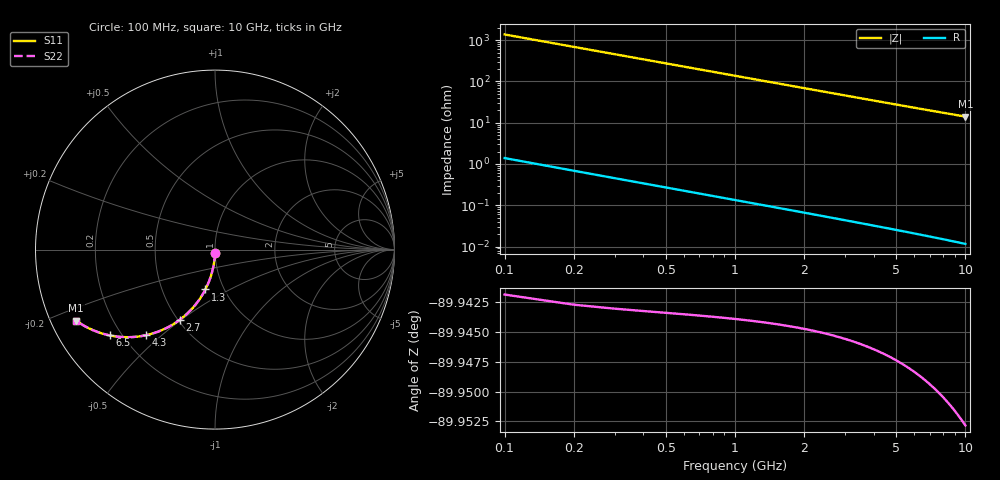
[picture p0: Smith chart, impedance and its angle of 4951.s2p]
# Hz S RI R 50.00
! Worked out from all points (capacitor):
!   100 points, 100 MHz to 10 GHz, reference 50 ohm
!   read as one part in shunt: C = 1.16 pF near 100 MHz
!   lowest |Z| = 14.1 ohm at 10 GHz (marker M1)
!   S11 on the Smith chart (normalised r, x): 100 MHz: 1.00, -0.04; 1.3 GHz: 0.82, -0.38; 2.7 GHz: 0.51, -0.49; 4.3 GHz: 0.29, -0.45; 6.5 GHz: 0.16, -0.35; 10 GHz: 0.07, -0.24
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1e8  -0.000256 -0.018  0.9996 -0.0185  0.9996 -0.0185  -0.000256 -0.018
2e8  -0.00127 -0.0361  0.9985 -0.0369  0.9985 -0.0369  -0.00127 -0.0361
3e8  -0.00295 -0.054  0.9969 -0.0553  0.9969 -0.0553  -0.00295 -0.054
4e8  -0.00528 -0.0718  0.9945 -0.0735  0.9945 -0.0735  -0.00528 -0.0718
5e8  -0.00826 -0.0895  0.9915 -0.0916  0.9915 -0.0916  -0.00826 -0.0895
6e8  -0.0119 -0.107  0.9879 -0.1095  0.9879 -0.1095  -0.0119 -0.107
7e8  -0.0161 -0.1243  0.9837 -0.1272  0.9837 -0.1272  -0.0161 -0.1243
8e8  -0.0209 -0.1413  0.9789 -0.1447  0.9789 -0.1447  -0.0209 -0.1413
1e9  -0.0323 -0.1746  0.9674 -0.1788  0.9674 -0.1788  -0.0323 -0.1746
1.3e9  -0.0535 -0.2219  0.9463 -0.2274  0.9463 -0.2274  -0.0535 -0.2219
1.5e9  -0.0699 -0.2516  0.9298 -0.2579  0.9298 -0.2579  -0.0699 -0.2516
1.8e9  -0.0977 -0.2928  0.9021 -0.3004  0.9021 -0.3004  -0.0977 -0.2928
2.2e9  -0.1392 -0.3412  0.8605 -0.3505  0.8605 -0.3505  -0.1392 -0.3412
2.7e9  -0.196 -0.3908  0.8038 -0.4023  0.8038 -0.4023  -0.196 -0.3908
3.4e9  -0.2789 -0.4408  0.7208 -0.4552  0.7208 -0.4552  -0.2789 -0.4408
4.3e9  -0.3824 -0.4764  0.6172 -0.4947  0.6172 -0.4947  -0.3824 -0.4764
5.1e9  -0.4659 -0.4875  0.5337 -0.5092  0.5337 -0.5092  -0.4659 -0.4875
6.5e9  -0.587 -0.4779  0.4124 -0.5057  0.4124 -0.5057  -0.587 -0.4779
6.7e9  -0.6018 -0.4746  0.3976 -0.5033  0.3976 -0.5033  -0.6018 -0.4746
7.5e9  -0.6549 -0.4586  0.3444 -0.4909  0.3444 -0.4909  -0.6549 -0.4586
8.4e9  -0.7048 -0.4373  0.2943 -0.4735  0.2943 -0.4735  -0.7048 -0.4373
1e10  -0.7729 -0.3963  0.2259 -0.4398  0.2259 -0.4398  -0.7729 -0.3963
